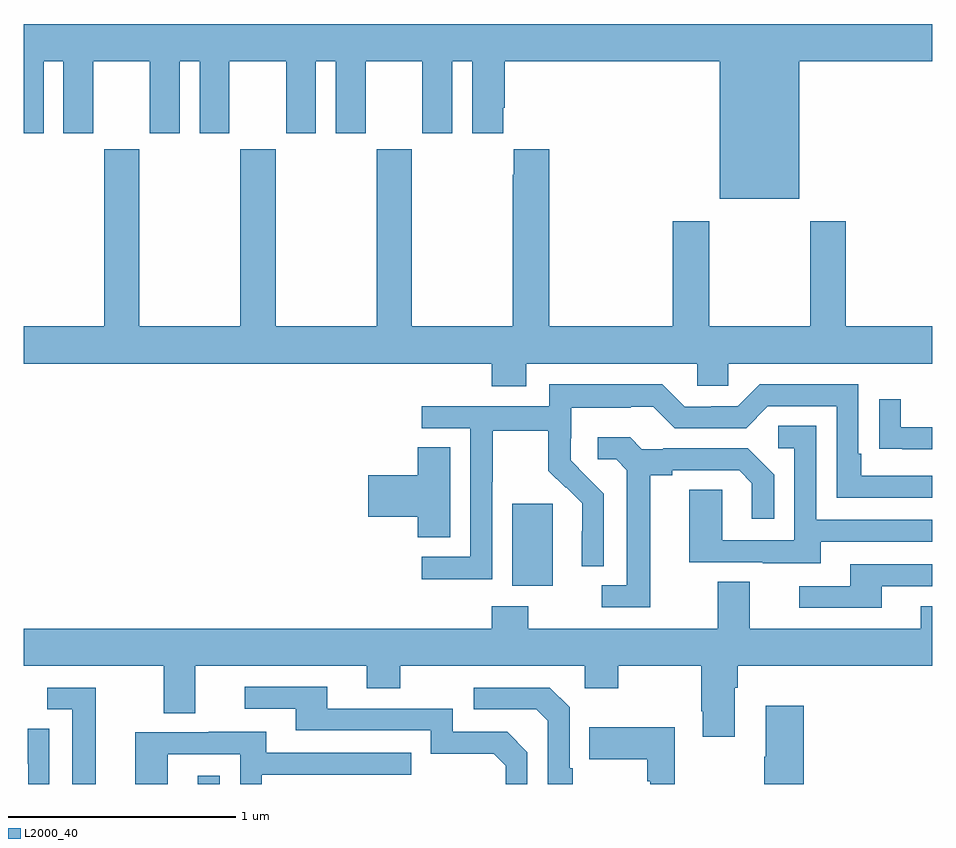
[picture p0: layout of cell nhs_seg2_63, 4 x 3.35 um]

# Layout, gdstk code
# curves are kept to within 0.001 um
import gdstk
lib = gdstk.Library(unit=1e-6, precision=1e-09)
def R(c, l, rs):  # rectangles x0, y0, x1, y1
    for r in rs: c.add(gdstk.rectangle(r[:2], r[2:], *l))
def P(c, l, *ps):  # polygons
    for p in ps: c.add(gdstk.Polygon(p, *l))
L2000_40 = (2000, 40)

nhs_seg2_63 = lib.new_cell('nhs_seg2_63')
R(nhs_seg2_63, L2000_40, [(113.765,629.8,113.862,629.836), (115.151,630.674,115.33,631.035)])
P(nhs_seg2_63, L2000_40, [(116.416,632.984),(117,632.984),(117,633.148),(113,633.148),(113,632.667),(113.086,632.667),(113.086,632.984),(113.174,632.984),(113.174,632.667),(113.305,632.667),(113.305,632.984),(113.555,632.984),(113.555,632.667),(113.686,632.667),(113.686,632.984),(113.774,632.984),(113.774,632.667),(113.905,632.667),(113.905,632.984),(114.155,632.984),(114.155,632.667),(114.286,632.667),(114.286,632.984),(114.374,632.984),(114.374,632.667),(114.505,632.667),(114.505,632.984),(114.755,632.984),(114.755,632.667),(114.886,632.667),(114.886,632.984),(114.974,632.984),(114.974,632.667),(115.111,632.667),(115.111,632.779),(115.118,632.779),(115.118,632.984),(116.066,632.984),(116.066,632.378),(116.416,632.378)],
  [(115.213,631.652),(115.965,631.652),(115.965,631.554),(116.103,631.554),(116.103,631.652),(117,631.652),(117,631.816),(116.619,631.816),(116.619,632.278),(116.464,632.278),(116.464,631.816),(116.019,631.816),(116.019,632.278),(115.859,632.278),(115.859,631.816),(115.313,631.816),(115.313,632.596),(115.157,632.596),(115.157,632.483),(115.153,632.483),(115.153,631.816),(114.708,631.816),(114.708,632.596),(114.553,632.596),(114.553,631.816),(114.108,631.816),(114.108,632.596),(113.953,632.596),(113.953,631.816),(113.508,631.816),(113.508,632.596),(113.353,632.596),(113.353,631.816),(113,631.816),(113,631.652),(115.061,631.652),(115.061,631.553),(115.213,631.553)],
  [(115.062,631.132),(115.065,631.132),(115.065,631.356),(115.309,631.356),(115.309,631.181),(115.386,631.104),(115.389,631.107),(115.46,631.037),(115.46,630.914),(115.458,630.914),(115.458,630.76),(115.554,630.76),(115.554,631.078),(115.408,631.226),(115.408,631.323),(115.41,631.323),(115.41,631.457),(115.673,631.457),(115.673,631.461),(115.773,631.461),(115.866,631.368),(116.181,631.368),(116.277,631.464),(116.58,631.464),(116.58,631.062),(117,631.062),(117,631.158),(116.689,631.158),(116.689,631.255),(116.676,631.255),(116.676,631.56),(116.241,631.56),(116.145,631.464),(116.027,631.464),(116.027,631.461),(115.911,631.461),(115.811,631.561),(115.314,631.561),(115.314,631.464),(114.753,631.464),(114.753,631.368),(114.966,631.368),(114.966,630.801),(114.753,630.801),(114.753,630.703),(115.062,630.703)],
  [(117,631.371),(116.863,631.371),(116.863,631.495),(116.767,631.495),(116.767,631.276),(116.869,631.276),(116.869,631.275),(117,631.275)],
  [(116.509,630.867),(117,630.867),(117,630.963),(116.49,630.963),(116.49,631.379),(116.322,631.379),(116.322,631.278),(116.394,631.278),(116.394,630.873),(116.076,630.873),(116.076,631.097),(115.931,631.097),(115.931,630.777),(116.255,630.777),(116.255,630.773),(116.509,630.773)],
  [(115.759,631.16),(115.855,631.16),(115.855,631.182),(116.15,631.182),(116.207,631.125),(116.207,630.969),(116.304,630.969),(116.304,631.162),(116.188,631.278),(115.816,631.278),(115.816,631.275),(115.722,631.275),(115.67,631.327),(115.527,631.327),(115.527,631.23),(115.608,631.23),(115.655,631.183),(115.655,630.675),(115.545,630.675),(115.545,630.579),(115.759,630.579)],
  [(114.877,631.283),(114.734,631.283),(114.734,631.16),(114.516,631.16),(114.516,630.977),(114.734,630.977),(114.734,630.886),(114.877,630.886)],
  [(116.779,630.672),(117,630.672),(117,630.768),(116.639,630.768),(116.639,630.672),(116.415,630.672),(116.415,630.576),(116.779,630.576)],
  [(116.131,630.224),(116.144,630.224),(116.144,630.32),(117,630.32),(117,630.583),(116.951,630.583),(116.951,630.484),(116.197,630.484),(116.197,630.692),(116.057,630.692),(116.057,630.484),(115.221,630.484),(115.221,630.583),(115.061,630.583),(115.061,630.484),(113,630.484),(113,630.32),(113.615,630.32),(113.615,630.112),(113.755,630.112),(113.755,630.32),(114.509,630.32),(114.509,630.221),(114.657,630.221),(114.657,630.32),(115.47,630.32),(115.47,630.221),(115.617,630.221),(115.617,630.32),(115.984,630.32),(115.984,630.121),(115.991,630.121),(115.991,630.009),(116.131,630.009)],
  [(115.218,629.94),(115.128,630.03),(114.888,630.03),(114.888,630.132),(114.337,630.132),(114.337,630.228),(113.973,630.228),(113.973,630.132),(114.197,630.132),(114.197,630.036),(114.792,630.036),(114.792,629.933),(115.069,629.933),(115.122,629.88),(115.122,629.8),(115.218,629.8)],
  [(115.417,629.869),(115.404,629.869),(115.404,630.138),(115.317,630.225),(114.981,630.225),(114.981,630.129),(115.257,630.129),(115.308,630.078),(115.308,629.8),(115.417,629.8)],
  [(113.317,630.225),(113.103,630.225),(113.103,630.129),(113.213,630.129),(113.213,629.8),(113.317,629.8)],
  [(116.435,630.145),(116.267,630.145),(116.267,629.921),(116.26,629.921),(116.26,629.8),(116.435,629.8)],
  [(115.867,630.049),(115.489,630.049),(115.489,629.909),(115.746,629.909),(115.746,629.813),(115.758,629.813),(115.758,629.8),(115.867,629.8)],
  [(113.112,630.044),(113.016,630.044),(113.016,629.89),(113.018,629.89),(113.018,629.8),(113.112,629.8)],
  [(113.634,629.931),(113.952,629.931),(113.952,629.8),(114.048,629.8),(114.048,629.841),(114.707,629.841),(114.707,629.937),(114.067,629.937),(114.067,630.031),(113.813,630.031),(113.813,630.027),(113.489,630.027),(113.489,629.8),(113.634,629.8)])

lib.write_gds('nhs_seg2_63.gds')
